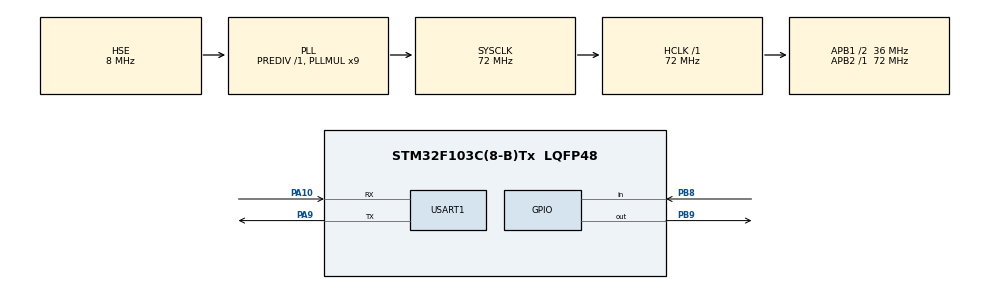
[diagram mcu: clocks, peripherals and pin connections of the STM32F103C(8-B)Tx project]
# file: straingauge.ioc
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Mcu.Family=STM32F1
Mcu.Name=STM32F103C(8-B)Tx
Mcu.Package=LQFP48
NVIC.PriorityGroup=NVIC_PRIORITYGROUP_4
PA10.Mode=Asynchronous
PA10.Signal=USART1_RX
PA9.Mode=Asynchronous
PA9.Signal=USART1_TX
PB8.Signal=GPIO_Input
PB9.Signal=GPIO_Output
PD0-OSC_IN.Mode=HSE-External-Oscillator
PD0-OSC_IN.Signal=RCC_OSC_IN
PD1-OSC_OUT.Mode=HSE-External-Oscillator
PD1-OSC_OUT.Signal=RCC_OSC_OUT
ProjectManager.HeapSize=0x200
ProjectManager.StackSize=0x400
ProjectManager.TargetToolchain=STM32CubeIDE
RCC.AHBFreq_Value=72000000
RCC.APB1CLKDivider=RCC_HCLK_DIV2
RCC.APB1Freq_Value=36000000
RCC.APB1TimFreq_Value=72000000
RCC.APB2Freq_Value=72000000
RCC.APB2TimFreq_Value=72000000
RCC.HCLKFreq_Value=72000000
RCC.PLLMUL=RCC_PLL_MUL9
RCC.PLLSourceVirtual=RCC_PLLSOURCE_HSE
RCC.SYSCLKFreq_VALUE=72000000
RCC.SYSCLKSource=RCC_SYSCLKSOURCE_PLLCLK
RCC.USBFreq_Value=72000000
TIM2.Prescaler=71
USART1.VirtualMode=VM_ASYNC
VP_SYS_VS_ND.Mode=No_Debug
VP_TIM2_VS_ClockSourceINT.Mode=Internal
board=custom

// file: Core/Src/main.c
/* USER CODE BEGIN Header */
/**
  ******************************************************************************
  * @file           : main.c
  * @brief          : Main program body
  ******************************************************************************
  * @attention
  *
  * Copyright (c) 2025 STMicroelectronics.
  * All rights reserved.
  *
  * This software is licensed under terms that can be found in the LICENSE file
  * in the root directory of this software component.
  * If no LICENSE file comes with this software, it is provided AS-IS.
  *
  ******************************************************************************
  */
/* USER CODE END Header */
#include "main.h"
#include <stdio.h>

TIM_HandleTypeDef htim2;

UART_HandleTypeDef huart1;

void SystemClock_Config(void);
static void MX_GPIO_Init(void);
static void MX_TIM2_Init(void);
static void MX_USART1_UART_Init(void);

/* USER CODE BEGIN 0 */
#define DT_PIN GPIO_PIN_8
#define DT_PORT GPIOB
#define SCK_PIN GPIO_PIN_9
#define SCK_PORT GPIOB

uint32_t tare = 1;
float knownOriginal = 1;  // in milli gram
float knownHX711 = 1;
int weight;
char buffer[20];
int size;

void microDelay(uint16_t delay)
{
  __HAL_TIM_SET_COUNTER(&htim2, 0);
  while (__HAL_TIM_GET_COUNTER(&htim2) < delay);
}

int32_t getHX711(void)
{
  uint32_t data = 0;
  uint32_t startTime = HAL_GetTick();
  while(HAL_GPIO_ReadPin(DT_PORT, DT_PIN) == GPIO_PIN_SET)
  {
    if(HAL_GetTick() - startTime > 1000)
      return 0;
  }
  for(int8_t len=0; len<24 ; len++)
  {
    HAL_GPIO_WritePin(SCK_PORT, SCK_PIN, GPIO_PIN_SET);
    microDelay(15);
    data = data << 1;
    HAL_GPIO_WritePin(SCK_PORT, SCK_PIN, GPIO_PIN_RESET);
    microDelay(15);
    if(HAL_GPIO_ReadPin(DT_PORT, DT_PIN) == GPIO_PIN_SET)
      data ++;
  }
  if(data & 0x800000)       // 24. bit işaret biti
      data |= 0xFF000000;
  HAL_GPIO_WritePin(SCK_PORT, SCK_PIN, GPIO_PIN_SET);
  microDelay(15);
  HAL_GPIO_WritePin(SCK_PORT, SCK_PIN, GPIO_PIN_RESET);
  microDelay(15);
  return data;
}

int weigh()
{
  int32_t  total = 0;
  int32_t  samples = 50;
  int milligram;
  float coefficient;
  for(uint16_t i=0 ; i<samples ; i++)
  {
      total += getHX711();
  }
  int32_t average = (int32_t)(total / samples);
  coefficient = knownOriginal / knownHX711;
  milligram = (int)(average-tare)*coefficient;
  return milligram;
}
/* USER CODE END 0 */

int main(void)
{

  /* MCU Configuration--------------------------------------------------------*/

  /* Reset of all peripherals, Initializes the Flash interface and the Systick. */
  HAL_Init();

  /* Configure the system clock */
  SystemClock_Config();

  /* Initialize all configured peripherals */
  MX_GPIO_Init();
  MX_TIM2_Init();
  MX_USART1_UART_Init();
  /* USER CODE BEGIN 2 */
  HAL_TIM_Base_Start(&htim2);
  HAL_GPIO_WritePin(SCK_PORT, SCK_PIN, GPIO_PIN_RESET);
  HAL_Delay(100);
  /* USER CODE END 2 */

  /* Infinite loop */
  while (1)
  {
	  weight = weigh(); // in milligram

	  size = sprintf(buffer, "%d\r\n", weight); // UART ile gönder
	  HAL_UART_Transmit(&huart1, (uint8_t*)buffer, size, HAL_MAX_DELAY);
  }
}

void SystemClock_Config(void)
{
  RCC_OscInitTypeDef RCC_OscInitStruct = {0};
  RCC_ClkInitTypeDef RCC_ClkInitStruct = {0};

  /** Initializes the RCC Oscillators according to the specified parameters
  * in the RCC_OscInitTypeDef structure.
  */
  RCC_OscInitStruct.OscillatorType = RCC_OSCILLATORTYPE_HSE;
  RCC_OscInitStruct.HSEState = RCC_HSE_ON;
  RCC_OscInitStruct.HSEPredivValue = RCC_HSE_PREDIV_DIV1;
  RCC_OscInitStruct.HSIState = RCC_HSI_ON;
  RCC_OscInitStruct.PLL.PLLState = RCC_PLL_ON;
  RCC_OscInitStruct.PLL.PLLSource = RCC_PLLSOURCE_HSE;
  RCC_OscInitStruct.PLL.PLLMUL = RCC_PLL_MUL9;
  if (HAL_RCC_OscConfig(&RCC_OscInitStruct) != HAL_OK)
  {
    Error_Handler();
  }

  /** Initializes the CPU, AHB and APB buses clocks
  */
  RCC_ClkInitStruct.ClockType = RCC_CLOCKTYPE_HCLK|RCC_CLOCKTYPE_SYSCLK
                              |RCC_CLOCKTYPE_PCLK1|RCC_CLOCKTYPE_PCLK2;
  RCC_ClkInitStruct.SYSCLKSource = RCC_SYSCLKSOURCE_PLLCLK;
  RCC_ClkInitStruct.AHBCLKDivider = RCC_SYSCLK_DIV1;
  RCC_ClkInitStruct.APB1CLKDivider = RCC_HCLK_DIV2;
  RCC_ClkInitStruct.APB2CLKDivider = RCC_HCLK_DIV1;

  if (HAL_RCC_ClockConfig(&RCC_ClkInitStruct, FLASH_LATENCY_2) != HAL_OK)
  {
    Error_Handler();
  }
}

static void MX_TIM2_Init(void)
{

  TIM_ClockConfigTypeDef sClockSourceConfig = {0};
  TIM_MasterConfigTypeDef sMasterConfig = {0};

  htim2.Instance = TIM2;
  htim2.Init.Prescaler = 71;
  htim2.Init.CounterMode = TIM_COUNTERMODE_UP;
  htim2.Init.Period = 65535;
  htim2.Init.ClockDivision = TIM_CLOCKDIVISION_DIV1;
  htim2.Init.AutoReloadPreload = TIM_AUTORELOAD_PRELOAD_DISABLE;
  if (HAL_TIM_Base_Init(&htim2) != HAL_OK)
  {
    Error_Handler();
  }
  sClockSourceConfig.ClockSource = TIM_CLOCKSOURCE_INTERNAL;
  if (HAL_TIM_ConfigClockSource(&htim2, &sClockSourceConfig) != HAL_OK)
  {
    Error_Handler();
  }
  sMasterConfig.MasterOutputTrigger = TIM_TRGO_RESET;
  sMasterConfig.MasterSlaveMode = TIM_MASTERSLAVEMODE_DISABLE;
  if (HAL_TIMEx_MasterConfigSynchronization(&htim2, &sMasterConfig) != HAL_OK)
  {
    Error_Handler();
  }

}

static void MX_USART1_UART_Init(void)
{

  huart1.Instance = USART1;
  huart1.Init.BaudRate = 115200;
  huart1.Init.WordLength = UART_WORDLENGTH_8B;
  huart1.Init.StopBits = UART_STOPBITS_1;
  huart1.Init.Parity = UART_PARITY_NONE;
  huart1.Init.Mode = UART_MODE_TX_RX;
  huart1.Init.HwFlowCtl = UART_HWCONTROL_NONE;
  huart1.Init.OverSampling = UART_OVERSAMPLING_16;
  if (HAL_UART_Init(&huart1) != HAL_OK)
  {
    Error_Handler();
  }

}

static void MX_GPIO_Init(void)
{
  GPIO_InitTypeDef GPIO_InitStruct = {0};

  /* GPIO Ports Clock Enable */
  __HAL_RCC_GPIOD_CLK_ENABLE();
  __HAL_RCC_GPIOA_CLK_ENABLE();
  __HAL_RCC_GPIOB_CLK_ENABLE();

  /*Configure GPIO pin Output Level */
  HAL_GPIO_WritePin(GPIOB, GPIO_PIN_9, GPIO_PIN_RESET);

  /*Configure GPIO pin : PB8 */
  GPIO_InitStruct.Pin = GPIO_PIN_8;
  GPIO_InitStruct.Mode = GPIO_MODE_INPUT;
  GPIO_InitStruct.Pull = GPIO_NOPULL;
  HAL_GPIO_Init(GPIOB, &GPIO_InitStruct);

  /*Configure GPIO pin : PB9 */
  GPIO_InitStruct.Pin = GPIO_PIN_9;
  GPIO_InitStruct.Mode = GPIO_MODE_OUTPUT_PP;
  GPIO_InitStruct.Pull = GPIO_NOPULL;
  GPIO_InitStruct.Speed = GPIO_SPEED_FREQ_LOW;
  HAL_GPIO_Init(GPIOB, &GPIO_InitStruct);

}

void Error_Handler(void)
{
  __disable_irq();
  while (1)
  {
  }
}
